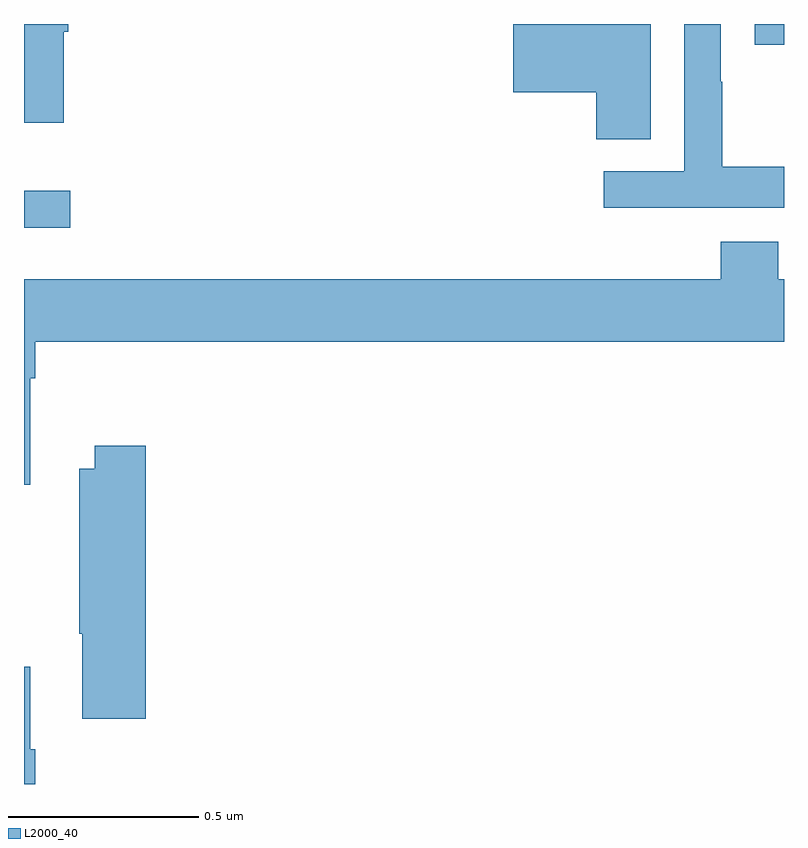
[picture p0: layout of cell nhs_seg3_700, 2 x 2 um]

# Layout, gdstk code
import gdstk
lib = gdstk.Library(unit=1e-6, precision=1e-09)
def R(c, l, rs):  # rectangles x0, y0, x1, y1
    for r in rs: c.add(gdstk.rectangle(r[:2], r[2:], *l))
def P(c, l, *ps):  # polygons
    for p in ps: c.add(gdstk.Polygon(p, *l))
L2000_40 = (2000, 40)

nhs_seg3_700 = lib.new_cell('nhs_seg3_700')
R(nhs_seg3_700, L2000_40, [(119,719.864,119.122,719.961), (120.923,720.345,121,720.4)])
P(nhs_seg3_700, L2000_40, [(119.104,720.38),(119.117,720.38),(119.117,720.4),(119,720.4),(119,720.14),(119.104,720.14)],
  [(120.649,720.4),(120.288,720.4),(120.288,720.221),(120.506,720.221),(120.506,720.097),(120.649,720.097)],
  [(121,720.025),(120.837,720.025),(120.837,720.248),(120.834,720.248),(120.834,720.4),(120.738,720.4),(120.738,720.012),(120.525,720.012),(120.525,719.916),(121,719.916)],
  [(119.017,719.468),(119.03,719.468),(119.03,719.564),(121,719.564),(121,719.728),(120.985,719.728),(120.985,719.827),(120.833,719.827),(120.833,719.728),(119,719.728),(119,719.187),(119.017,719.187)],
  [(119.321,719.29),(119.186,719.29),(119.186,719.23),(119.146,719.23),(119.146,718.795),(119.153,718.795),(119.153,718.572),(119.321,718.572)],
  [(119.03,718.492),(119.017,718.492),(119.017,718.708),(119,718.708),(119,718.4),(119.03,718.4)])

lib.write_gds('nhs_seg3_700.gds')
